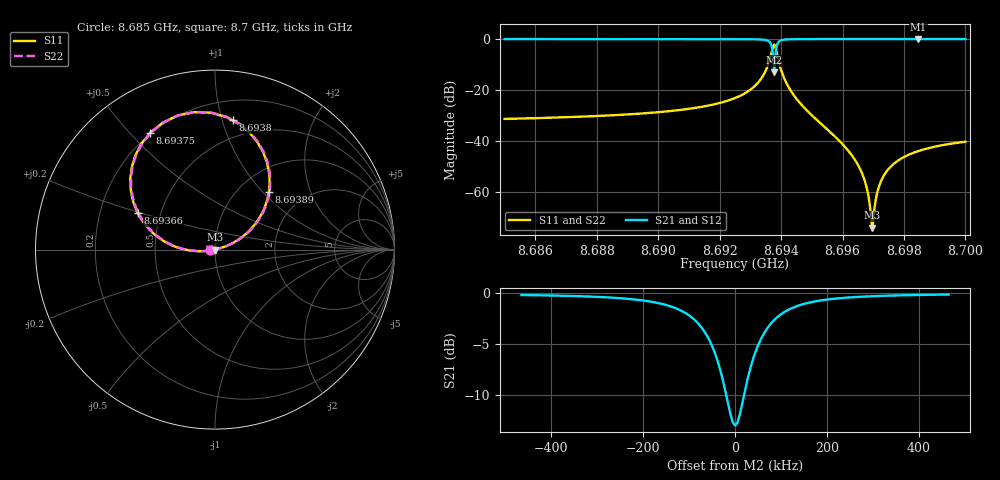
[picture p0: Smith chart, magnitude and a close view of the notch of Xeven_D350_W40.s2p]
! Sonnet Data File
! From: emgraph Version : 16.52
! From Project: Qubit_Xmon2_brg_para
! Data is De-embedded
! Data File Written: 10/25/2017 20:11:04
!< HDATE 10/25/2017 15:55:44
!< MDATE 10/25/2017 15:55:44
!< PARAMS
!< Lj = 11.0
!< Gap = 6.0
!< Pwid = 2000.0
!< Airgap = 6.0
!< Width = 10.0
!< Bwid = 40.0
!< Dis1 = 350.0
!< Dis2 = 356.0
!< END PARAMS
# GHZ S MA R 51.80000
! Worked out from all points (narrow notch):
!   3001 points, 8.685 GHz to 8.7 GHz, reference 51.8 ohm
!   highest |S21| = 0.00 dB at 8.69847 GHz (marker M1); lowest = -13.0 dB at 8.69378 GHz (marker M2)
!   notch at M2: 13.0 dB deep, 78.1 kHz wide at half that depth
!   lowest |S11| = -73.9 dB at 8.69697 GHz (marker M3), VSWR 1.00, Z = 51.8 + j0.0204 ohm
!   |S11| at or under -10 dB: start of sweep to 8.693578 GHz; 8.693949 GHz to end of sweep
!   |S22| runs from -89.4 to -2.2 dB; largest |S21 - S12| = 0
!   S11 on the Smith chart (normalised r, x): 8.685 GHz: 0.95, -0.01; 8.69366 GHz: 0.37, +0.20; 8.69375 GHz: 0.20, +0.57; 8.6938 GHz: 0.35, +1.08; 8.69389 GHz: 1.36, +1.09; 8.7 GHz: 0.98, -0.00
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8.685  0.02731 -169.9  0.9996 -79.9  0.9996 -79.9  0.02731 -170.1
!< P1 F=8.685 Eeff=(6.44683879 -2.9786e-5) Z0=(51.7993663 1.19075e-4) R=0.0 C=0.0
!< P2 F=8.685 Eeff=(6.44683879 -2.9786e-5) Z0=(51.7993663 1.19075e-4) R=0.0 C=0.0
8.6875  0.03022 -170.1  0.9995 -80.1  0.9995 -80.1  0.03022 -170.3
8.69  0.03697 -170.5  0.9992 -80.5  0.9992 -80.5  0.03697 -170.8
8.6925  0.07002 -172.8  0.9968 -82.5  0.9968 -82.5  0.07002 -173.3
8.693265  0.1433 -178.2  0.9852 -86.7  0.9852 -86.7  0.1432 -178.7
8.693545  0.2791 171.4  0.9397 -94.6  0.9397 -94.6  0.2791 170.9
8.693665  0.4771 154.6  0.8062 -106.6  0.8062 -106.6  0.477 154.0
8.69375  0.7446 119.0  0.3624 -115.7  0.3624 -115.7  0.7446 118.4
8.693775  0.7765 102.2  0.2236 -79.8  0.2236 -79.8  0.7764 101.7
8.693805  0.7277 82.1  0.3997 -40.5  0.3997 -40.5  0.7277 81.5
8.69389  0.4406 47.1  0.828 -52.7  0.828 -52.7  0.4405 46.5
8.694015  0.2349 30.1  0.9527 -64.9  0.9527 -64.9  0.2349 29.5
8.694265  0.1095 20.7  0.9891 -72.2  0.9891 -72.2  0.1095 20.1
8.695  0.0322 15.2  0.9987 -76.6  0.9987 -76.6  0.0322 14.4
8.6965  0.003461 16.1  0.9998 -78.3  0.9998 -78.3  0.003453 12.7
8.696775  0.001316 21.4  0.9999 -78.4  0.9999 -78.4  0.001299 13.5
8.696925  0.0003484 48.0  0.9999 -78.5  0.9999 -78.5  0.0002835 18.7
8.69697  0.0002025 103.3  0.9999 -78.5  0.9999 -78.5  3.387e-05 110.2
8.697175  0.001229 -177.1  0.9999 -78.6  0.9999 -78.6  0.001214 -169.8
8.6975  0.002863 -171.8  0.9999 -78.7  0.9999 -78.7  0.002858 -169.0
8.69847  0.006414 -169.8  0.9999 -78.9  0.9999 -78.9  0.006412 -168.9
8.7  0.009768 -169.5  0.9999 -79.1  0.9999 -79.1  0.009768 -169.0
